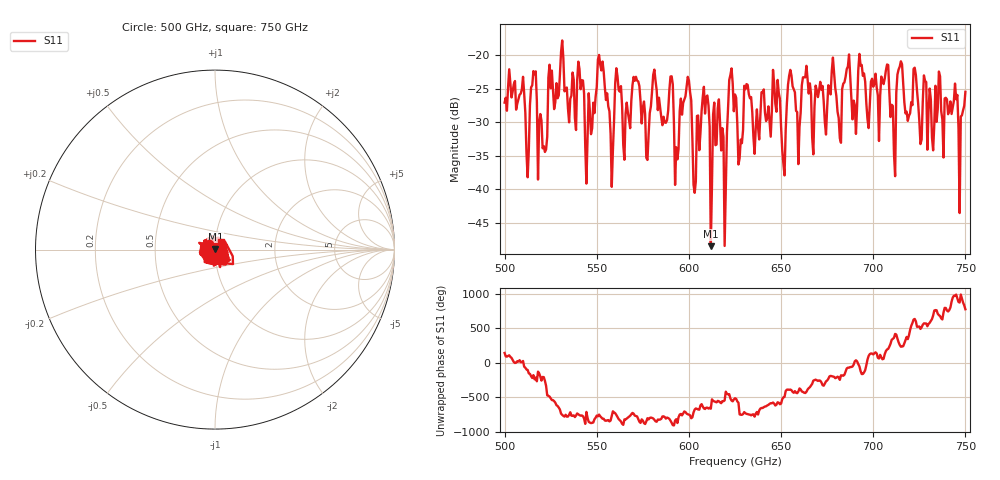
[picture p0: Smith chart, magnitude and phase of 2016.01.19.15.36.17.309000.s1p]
!Created with skrf (http://scikit-rf.org).
# GHz S RI R 50.0
!freq ReS11 ImS11
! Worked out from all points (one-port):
!   401 points, 500 GHz to 750 GHz, reference 50 ohm
!   lowest |S11| = -48.5 dB at 611.9 GHz (marker M1), VSWR 1.01, Z = 50.2 + j0.293 ohm
!   |S11| at or under -10 dB: start of sweep to end of sweep
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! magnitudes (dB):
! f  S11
! 500 GHz  -27.1
! 512.5 GHz  -38.2
! 515.6 GHz  -22.4
! 521.9 GHz  -34.5
! 531.2 GHz  -17.8
! 545 GHz  -32.3
! 551.9 GHz  -21.4
! 558.1 GHz  -39.7
! 562.5 GHz  -25.4
! 577.5 GHz  -35.6
! 590 GHz  -23.2
! 593.8 GHz  -35.6
! 599.4 GHz  -23.2
! 602.5 GHz  -39.3
! 608.8 GHz  -28.7
! 611.9 GHz  -48.5
! 625 GHz  -25.9
! 628.1 GHz  -32.6
! 631.2 GHz  -24.3
! 636.9 GHz  -28.1
! 646.9 GHz  -27.2
! 651.2 GHz  -36.2
! 656.2 GHz  -24.7
! 687.5 GHz  -23.0
! 710.6 GHz  -27.6
! 714.4 GHz  -21.7
! 718.8 GHz  -29.8
! 750 GHz  -25.5
